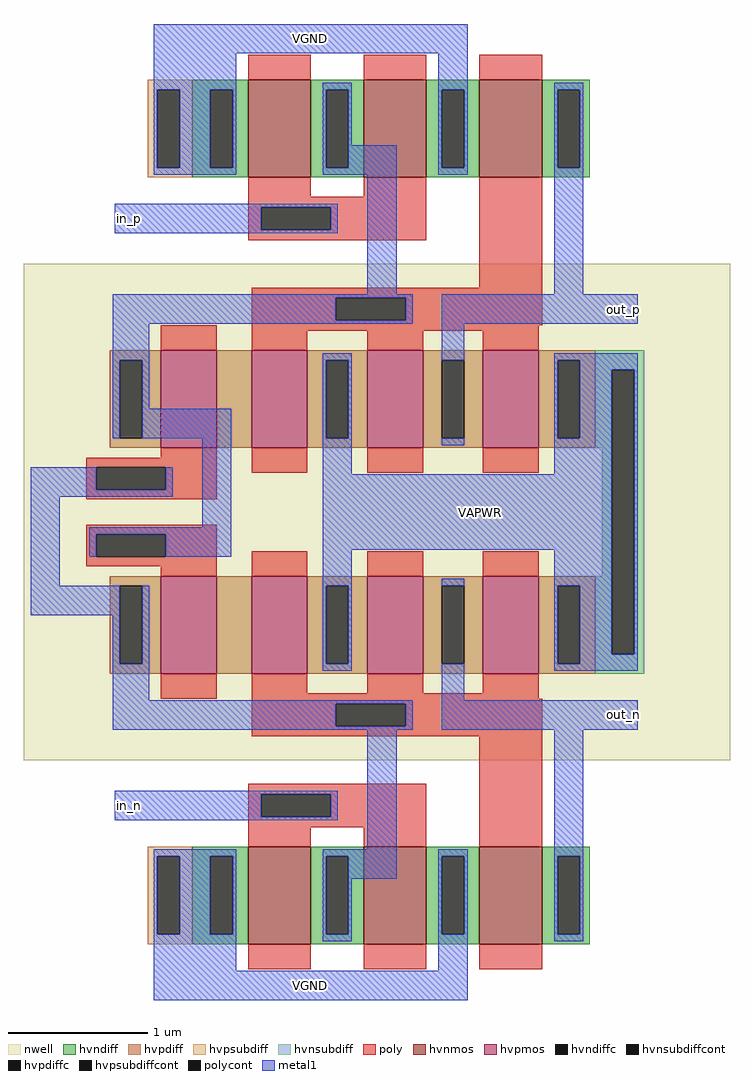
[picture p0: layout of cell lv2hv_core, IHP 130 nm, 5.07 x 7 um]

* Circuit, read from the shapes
.subckt lv2hv_core VGND VAPWR in_p in_n out_p out_n
XM1 n1 in_n VGND VGND sg13_hv_nmos w=0.7u l=0.45u m=2
XM2 n2 in_p VGND VGND sg13_hv_nmos w=0.7u l=0.45u m=2
XM3 out_n n1 VGND VGND sg13_hv_nmos w=0.7u l=0.45u
XM4 out_p n2 VGND VGND sg13_hv_nmos w=0.7u l=0.45u
XM5 n3 n2 n1 VAPWR sg13_hv_pmos w=0.7u l=0.4u
XM6 n4 n1 n2 VAPWR sg13_hv_pmos w=0.7u l=0.4u
XM7 VAPWR n1 n3 VAPWR sg13_hv_pmos w=0.7u l=0.4u
XM8 VAPWR n2 n4 VAPWR sg13_hv_pmos w=0.7u l=0.4u
XM9 out_n n1 VAPWR VAPWR sg13_hv_pmos w=0.7u l=0.4u m=2
XM10 out_p n2 VAPWR VAPWR sg13_hv_pmos w=0.7u l=0.4u m=2
.ends

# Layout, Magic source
magic
tech ihp-sg13cmos5l
magscale 1 2
<< nwell >>
rect 0 344 1014 1056
<< hvnmos >>
rect 322 1180 412 1320
rect 488 1180 578 1320
rect 654 1180 744 1320
rect 322 80 412 220
rect 488 80 578 220
rect 654 80 744 220
<< hvpmos >>
rect 197 792 277 932
rect 327 792 407 932
rect 493 792 573 932
rect 659 792 739 932
rect 197 468 277 608
rect 327 468 407 608
rect 493 468 573 608
rect 659 468 739 608
<< hvndiff >>
rect 242 1306 322 1320
rect 242 1194 268 1306
rect 300 1194 322 1306
rect 242 1180 322 1194
rect 412 1306 488 1320
rect 412 1194 434 1306
rect 466 1194 488 1306
rect 412 1180 488 1194
rect 578 1306 654 1320
rect 578 1194 600 1306
rect 632 1194 654 1306
rect 578 1180 654 1194
rect 744 1306 812 1320
rect 744 1194 766 1306
rect 798 1194 812 1306
rect 744 1180 812 1194
rect 242 206 322 220
rect 242 94 268 206
rect 300 94 322 206
rect 242 80 322 94
rect 412 206 488 220
rect 412 94 434 206
rect 466 94 488 206
rect 412 80 488 94
rect 578 206 654 220
rect 578 94 600 206
rect 632 94 654 206
rect 578 80 654 94
rect 744 206 812 220
rect 744 94 766 206
rect 798 94 812 206
rect 744 80 812 94
<< hvpdiff >>
rect 124 918 197 932
rect 124 806 138 918
rect 170 806 197 918
rect 124 792 197 806
rect 277 792 327 932
rect 407 918 493 932
rect 407 806 434 918
rect 466 806 493 918
rect 407 792 493 806
rect 573 918 659 932
rect 573 806 600 918
rect 632 806 659 918
rect 573 792 659 806
rect 739 918 820 932
rect 739 806 766 918
rect 798 806 820 918
rect 739 792 820 806
rect 124 594 197 608
rect 124 482 138 594
rect 170 482 197 594
rect 124 468 197 482
rect 277 468 327 608
rect 407 594 493 608
rect 407 482 434 594
rect 466 482 493 594
rect 407 468 493 482
rect 573 594 659 608
rect 573 482 600 594
rect 632 482 659 594
rect 573 468 659 482
rect 739 594 820 608
rect 739 482 766 594
rect 798 482 820 594
rect 739 468 820 482
<< hvndiffc >>
rect 268 1194 300 1306
rect 434 1194 466 1306
rect 600 1194 632 1306
rect 766 1194 798 1306
rect 268 94 300 206
rect 434 94 466 206
rect 600 94 632 206
rect 766 94 798 206
<< hvpdiffc >>
rect 138 806 170 918
rect 434 806 466 918
rect 600 806 632 918
rect 766 806 798 918
rect 138 482 170 594
rect 434 482 466 594
rect 600 482 632 594
rect 766 482 798 594
<< hvpsubdiff >>
rect 178 1306 242 1320
rect 178 1194 192 1306
rect 224 1194 242 1306
rect 178 1180 242 1194
rect 178 206 242 220
rect 178 94 192 206
rect 224 94 242 206
rect 178 80 242 94
<< hvnsubdiff >>
rect 820 904 890 932
rect 820 792 844 904
rect 830 608 844 792
rect 820 496 844 608
rect 876 496 890 904
rect 820 468 890 496
<< hvpsubdiffcont >>
rect 192 1194 224 1306
rect 192 94 224 206
<< hvnsubdiffcont >>
rect 844 496 876 904
<< poly >>
rect 322 1320 412 1356
rect 488 1320 578 1356
rect 654 1320 744 1356
rect 322 1152 412 1180
rect 488 1152 578 1180
rect 322 1137 578 1152
rect 322 1105 341 1137
rect 441 1105 578 1137
rect 322 1090 578 1105
rect 654 1022 744 1180
rect 327 1007 744 1022
rect 327 975 448 1007
rect 548 975 744 1007
rect 327 968 744 975
rect 197 932 277 968
rect 327 960 739 968
rect 327 932 407 960
rect 493 932 573 960
rect 659 932 739 960
rect 197 778 277 792
rect 90 764 277 778
rect 90 732 104 764
rect 204 732 277 764
rect 327 756 407 792
rect 493 756 573 792
rect 659 756 739 792
rect 90 718 277 732
rect 90 668 277 682
rect 90 636 104 668
rect 204 636 277 668
rect 90 622 277 636
rect 197 608 277 622
rect 327 608 407 644
rect 493 608 573 644
rect 659 608 739 644
rect 197 432 277 468
rect 327 440 407 468
rect 493 440 573 468
rect 659 440 739 468
rect 327 432 739 440
rect 327 425 744 432
rect 327 393 448 425
rect 548 393 744 425
rect 327 378 744 393
rect 322 295 578 310
rect 322 263 341 295
rect 441 263 578 295
rect 322 248 578 263
rect 322 220 412 248
rect 488 220 578 248
rect 654 220 744 378
rect 322 44 412 80
rect 488 44 578 80
rect 654 44 744 80
<< polycont >>
rect 341 1105 441 1137
rect 448 975 548 1007
rect 104 732 204 764
rect 104 636 204 668
rect 448 393 548 425
rect 341 263 441 295
<< metal1 >>
rect 187 1358 637 1400
rect 187 1306 305 1358
rect 187 1194 192 1306
rect 224 1194 268 1306
rect 300 1194 305 1306
rect 187 1184 305 1194
rect 429 1306 471 1316
rect 429 1194 434 1306
rect 466 1226 471 1306
rect 595 1306 637 1358
rect 466 1194 535 1226
rect 429 1184 535 1194
rect 595 1194 600 1306
rect 632 1194 637 1306
rect 595 1184 637 1194
rect 761 1306 803 1316
rect 761 1194 766 1306
rect 798 1194 803 1306
rect 131 1137 451 1142
rect 131 1105 341 1137
rect 441 1105 451 1137
rect 131 1100 451 1105
rect 493 1012 535 1184
rect 761 1012 803 1194
rect 128 1007 558 1012
rect 128 975 448 1007
rect 548 975 558 1007
rect 128 970 558 975
rect 600 970 881 1012
rect 128 918 180 970
rect 128 806 138 918
rect 170 848 180 918
rect 429 918 471 928
rect 170 806 298 848
rect 10 732 104 764
rect 204 732 214 764
rect 10 722 214 732
rect 10 594 52 722
rect 256 678 298 806
rect 94 668 298 678
rect 94 636 104 668
rect 204 636 298 668
rect 429 806 434 918
rect 466 806 471 918
rect 429 754 471 806
rect 600 918 632 970
rect 600 796 632 806
rect 761 918 881 928
rect 761 806 766 918
rect 798 904 881 918
rect 798 806 844 904
rect 761 754 844 806
rect 429 646 844 754
rect 429 594 471 646
rect 10 552 138 594
rect 128 482 138 552
rect 170 482 180 594
rect 128 430 180 482
rect 429 482 434 594
rect 466 482 471 594
rect 429 472 471 482
rect 600 594 632 604
rect 600 430 632 482
rect 761 594 844 646
rect 761 482 766 594
rect 798 496 844 594
rect 876 496 881 904
rect 798 482 881 496
rect 761 472 881 482
rect 128 425 558 430
rect 128 393 448 425
rect 548 393 558 425
rect 128 388 558 393
rect 600 388 881 430
rect 131 295 451 300
rect 131 263 341 295
rect 441 263 451 295
rect 131 258 451 263
rect 493 216 535 388
rect 187 206 305 216
rect 187 94 192 206
rect 224 94 268 206
rect 300 94 305 206
rect 187 42 305 94
rect 429 206 535 216
rect 429 94 434 206
rect 466 174 535 206
rect 595 206 637 216
rect 466 94 471 174
rect 429 84 471 94
rect 595 94 600 206
rect 632 94 637 206
rect 595 42 637 94
rect 761 206 803 388
rect 761 94 766 206
rect 798 94 803 206
rect 761 84 803 94
rect 187 0 637 42
<< labels >>
flabel metal1 s 187 1358 637 1400 0 FreeSans 400 0 0 0 VGND
port 0 nsew ground input
flabel metal1 s 187 0 637 42 0 FreeSans 400 0 0 0 VGND
port 0 nsew ground input
flabel metal1 s 429 646 881 754 0 FreeSans 400 0 0 0 VAPWR
port 1 nsew power input
flabel metal1 s 131 1100 173 1142 0 FreeSans 160 0 0 0 in_p
port 2 nsew signal input
flabel metal1 s 131 258 173 300 0 FreeSans 160 0 0 0 in_n
port 3 nsew signal input
flabel metal1 s 839 970 881 1012 0 FreeSans 160 0 0 0 out_p
port 4 nsew signal output
flabel metal1 s 839 388 881 430 0 FreeSans 160 0 0 0 out_n
port 5 nsew signal output
<< properties >>
string FIXED_BBOX 0 0 1014 1400
<< end >>
